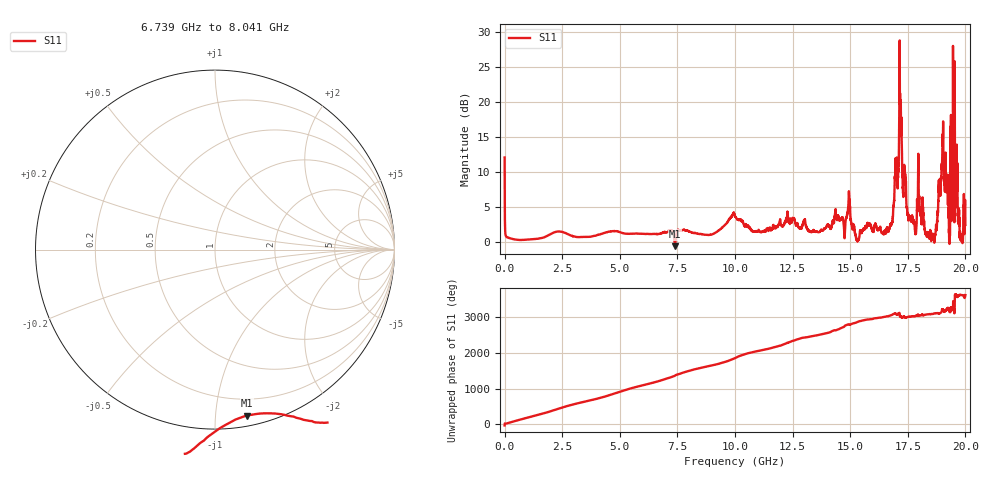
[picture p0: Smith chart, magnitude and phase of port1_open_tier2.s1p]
! Created with skrf 1.8.0 (http://scikit-rf.org).
# GHz S RI R 50.0
!freq ReS11 ImS11
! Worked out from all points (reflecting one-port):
!   10001 points, 1 MHz to 20 GHz, reference 50 ohm
!   lowest |S11| = -0.5 dB at 7.395 GHz (marker M1), VSWR 33.10, Z = 3.72 - j60.4 ohm
!   phase of S11 starts at -34 deg and turns +3653 deg over the sweep
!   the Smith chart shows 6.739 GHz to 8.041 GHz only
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0.001  3.337 -2.26
0.8509575  -0.9838 0.3503
1.554922  0.1698 -1.057
2.500875  -0.3714 1.131
4.088796  1.128 0.1376
5.00075  -1.16 -0.2342
6.508675  -0.1036 1.145
7.39463  0.1775 -0.9245
7.500625  0.809 -0.8982
8.20859  -0.0414 1.168
9.480526  0.3496 -1.244
10.0005  0.954 1.19
10.52247  -1.298 -0.0176
11.81841  1.248 0.341
12.50038  -1.484 0.1027
13.72831  1.216 -0.1239
14.31828  -0.5622 1.418
15.00025  -0.047 -1.618
15.79821  0.7321 1.11
16.76416  -1.322 0.3199
17.04615  -2.785 -0.434
17.12214  -3.558 -4.314
17.25014  -0.882 3.979
17.50013  -0.9544 1.304
18.86006  -1.728 -1.856
19.02805  5.657 -1.917
19.39803  1.379 0.3446
20  1.264 0.4283
